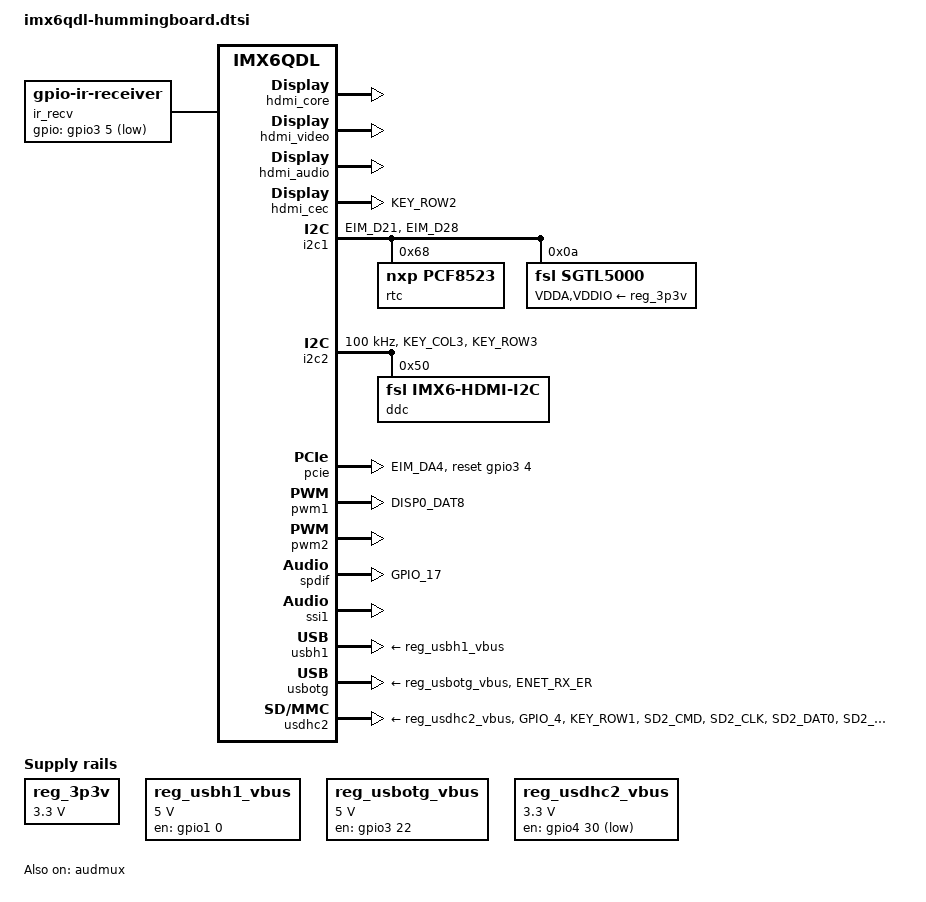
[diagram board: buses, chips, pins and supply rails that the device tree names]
/*
 * Copyright (C) 2013,2014 Russell King
 *
 * This file is dual-licensed: you can use it either under the terms
 * of the GPL or the X11 license, at your option. Note that this dual
 * licensing only applies to this file, and not this project as a
 * whole.
 *
 *  a) This file is free software; you can redistribute it and/or
 *     modify it under the terms of the GNU General Public License as
 *     published by the Free Software Foundation; either version 2 of the
 *     License.
 *
 *     This file is distributed in the hope that it will be useful
 *     but WITHOUT ANY WARRANTY; without even the implied warranty of
 *     MERCHANTABILITY or FITNESS FOR A PARTICULAR PURPOSE.  See the
 *     GNU General Public License for more details.
 *
 * Or, alternatively
 *
 *  b) Permission is hereby granted, free of charge, to any person
 *     obtaining a copy of this software and associated documentation
 *     files (the "Software"), to deal in the Software without
 *     restriction, including without limitation the rights to use
 *     copy, modify, merge, publish, distribute, sublicense, and/or
 *     sell copies of the Software, and to permit persons to whom the
 *     Software is furnished to do so, subject to the following
 *     conditions:
 *
 *     The above copyright notice and this permission notice shall be
 *     included in all copies or substantial portions of the Software.
 *
 *     THE SOFTWARE IS PROVIDED , WITHOUT WARRANTY OF ANY KIND
 *     EXPRESS OR IMPLIED, INCLUDING BUT NOT LIMITED TO THE WARRANTIES
 *     OF MERCHANTABILITY, FITNESS FOR A PARTICULAR PURPOSE AND
 *     NONINFRINGEMENT. IN NO EVENT SHALL THE AUTHORS OR COPYRIGHT
 *     HOLDERS BE LIABLE FOR ANY CLAIM, DAMAGES OR OTHER LIABILITY
 *     WHETHER IN AN ACTION OF CONTRACT, TORT OR OTHERWISE, ARISING
 *     FROM, OUT OF OR IN CONNECTION WITH THE SOFTWARE OR THE USE OR
 *     OTHER DEALINGS IN THE SOFTWARE.
 */
#include "imx6qdl-microsom.dtsi"
#include "imx6qdl-microsom-ar8035.dtsi"

/ {
	aliases {
                mmc0 = &usdhc2;
                mmc1 = &usdhc1;
		mxcfb0 = &mxcfb1;
	};

	chosen {
		bootargs = "quiet console=ttymxc0,115200 root=/dev/mmcblk0p2 rw";
		stdout-path = &uart1;
	};

	ir_recv: ir-receiver {
		compatible = "gpio-ir-receiver";
		gpios = <&gpio3 5 1>;
		pinctrl-names = "default";
		pinctrl-0 = <&pinctrl_hummingboard_gpio3_5>;
		linux,rc-map-name = "rc-rc6-mce";	
	};

	regulators {
		compatible = "simple-bus";

		reg_3p3v: 3p3v {
			compatible = "regulator-fixed";
			regulator-name = "3P3V";
			regulator-min-microvolt = <3300000>;
			regulator-max-microvolt = <3300000>;
		};

		reg_usbh1_vbus: usb-h1-vbus {
			compatible = "regulator-fixed";
			enable-active-high;
			gpio = <&gpio1 0 0>;
			pinctrl-names = "default";
			pinctrl-0 = <&pinctrl_hummingboard_usbh1_vbus>;
			regulator-name = "usb_h1_vbus";
			regulator-min-microvolt = <5000000>;
			regulator-max-microvolt = <5000000>;
		};

		reg_usbotg_vbus: usb-otg-vbus {
			compatible = "regulator-fixed";
			enable-active-high;
			gpio = <&gpio3 22 0>;
			pinctrl-names = "default";
			pinctrl-0 = <&pinctrl_hummingboard_usbotg_vbus>;
			regulator-name = "usb_otg_vbus";
			regulator-min-microvolt = <5000000>;
			regulator-max-microvolt = <5000000>;
		};

		reg_usdhc2_vbus: usdhc-2-vbus {
			compatible = "regulator-fixed";
			regulator-name = "USDHC2-VBUS";
			gpio = <&gpio4 30 0>;
			pinctrl-names = "default";
			pinctrl-0 = <&pinctrl_hummingboard_usdhc2_pwr>;
			regulator-min-microvolt = <3300000>;
			regulator-max-microvolt = <3300000>;
		};
	};

	sound-sgtl5000 {
		audio-codec = <&sgtl5000>;
		audio-routing =
			"MIC_IN", "Mic Jack",
			"Mic Jack", "Mic Bias",
			"Headphone Jack", "HP_OUT";
		compatible = "fsl,imx-audio-sgtl5000";
		model = "On-board Codec";
		mux-ext-port = <5>;
		mux-int-port = <1>;
		cpu-dai = <&ssi1>;
	};

	sound-spdif {
		compatible = "fsl,imx-audio-spdif";
		model = "On-board SPDIF";
		/* IMX6 doesn't implement this yet */
		spdif-controller = <&spdif>;
		spdif-out;
	};

	sound-hdmi {
		compatible = "fsl,imx6q-audio-hdmi",
			     "fsl,imx-audio-hdmi";
		model = "imx-audio-hdmi";
		hdmi-controller = <&hdmi_audio>;
	};

	mxcfb1: fb@0 {
		compatible = "fsl,mxc_sdc_fb";
		disp_dev = "hdmi";
		interface_pix_fmt = "RGB24";
		mode_str ="1920x1080M@60";
		default_bpp = <32>;
		int_clk = <0>;
		late_init = <0>;
		status = "okay";
        };
};

&audmux {
	status = "okay";
};

&flexcan1 {
	pinctrl-names = "default";
	pinctrl-0 = <&pinctrl_hummingboard_flexcan1>;
	status = "disabled";
};

&hdmi_core {
	ipu_id = <0>;
	disp_id = <0>;
	status = "okay";
};

&hdmi_video {
	fsl,phy_reg_vlev = <0x0294>;
	fsl,phy_reg_cksymtx = <0x800d>;
	status = "okay";
};

&hdmi_audio {
	status = "okay";
};

&hdmi_cec {
        pinctrl-names = "default";
        pinctrl-0 = <&pinctrl_hummingboard_hdmi>;
        status = "okay";
};

&i2c1 {
	pinctrl-names = "default";
	pinctrl-0 = <&pinctrl_hummingboard_i2c1>;
	status = "okay";

	/* Pro baseboard model */
	rtc: pcf8523@68 {
		compatible = "nxp,pcf8523";
		reg = <0x68>;
	};

	/* Pro baseboard model */
	sgtl5000: sgtl5000@0a {
		clocks = <&clks IMX6QDL_CLK_CKO>;
		compatible = "fsl,sgtl5000";
		pinctrl-names = "default";
		pinctrl-0 = <&pinctrl_hummingboard_sgtl5000>;
		reg = <0x0a>;
		VDDA-supply = <&reg_3p3v>;
		VDDIO-supply = <&reg_3p3v>;
	};
};

&i2c2 {
	clock-frequency = <100000>;
	pinctrl-names = "default";
	pinctrl-0 = <&pinctrl_hummingboard_i2c2>;
	status = "okay";

	ddc: imx6_hdmi_i2c@50 {
		compatible = "fsl,imx6-hdmi-i2c";
		reg = <0x50>;
	};
};

&iomuxc {
	pinctrl-names = "default";
	pinctrl-0 = <&pinctrl_hog>;
	hummingboard {
                pinctrl_hog: hoggrp {
                        fsl,pins = <
                                /*
                                 * 26 pin header GPIO description. The pins
                                 * numbering as following -
                                 * GPIO number | GPIO (bank,num) |  PIN number
                                 * ------------+-----------------+------------
                                 * gpio1       | (1,1)           | IO7
                                 * gpio73      | (3,9)           | IO11
                                 * gpio72      | (3,8)           | IO12
                                 * gpio71      | (3,7)           | IO13
                                 * gpio70      | (3,6)           | IO15
                                 * gpio194     | (7,2)           | IO16
                                 * gpio195     | (7,3)           | IO18
                                 * gpio67      | (3,3)           | IO22
                                 *
                                 * Notice the gpioX and GPIO (Y,Z) mapping forumla :
                                 * X = (Y-1) * 32 + Z
                                 */
                                MX6QDL_PAD_GPIO_1__GPIO1_IO01 0x400130b1
                                MX6QDL_PAD_EIM_DA9__GPIO3_IO09 0x400130b1
                                MX6QDL_PAD_EIM_DA8__GPIO3_IO08 0x400130b1
                                MX6QDL_PAD_EIM_DA7__GPIO3_IO07 0x400130b1
                                MX6QDL_PAD_EIM_DA6__GPIO3_IO06 0x400130b1
                                MX6QDL_PAD_SD3_CMD__GPIO7_IO02 0x400130b1
                                MX6QDL_PAD_SD3_CLK__GPIO7_IO03 0x400130b1
                                MX6QDL_PAD_EIM_DA3__GPIO3_IO03 0x400130b1
                        >;
                };

		pinctrl_hummingboard_flexcan1: hummingboard-flexcan1 {
			fsl,pins = <
				MX6QDL_PAD_SD3_CLK__FLEXCAN1_RX 0x80000000
				MX6QDL_PAD_SD3_CMD__FLEXCAN1_TX 0x80000000
			>;
		};

		pinctrl_hummingboard_gpio3_5: hummingboard-gpio3_5 {
			fsl,pins = <
				MX6QDL_PAD_EIM_DA5__GPIO3_IO05 0x1b0b1
			>;
		};

		pinctrl_hummingboard_hdmi: hummingboard-hdmi {
			fsl,pins = <
				MX6QDL_PAD_KEY_ROW2__HDMI_TX_CEC_LINE 0x1f8b0
			>;
		};

		pinctrl_hummingboard_i2c1: hummingboard-i2c1 {
			fsl,pins = <
				MX6QDL_PAD_EIM_D21__I2C1_SCL 0x4001b8b1
				MX6QDL_PAD_EIM_D28__I2C1_SDA 0x4001b8b1
			>;
		};

		pinctrl_hummingboard_i2c2: hummingboard-i2c2 {
			fsl,pins = <
				MX6QDL_PAD_KEY_COL3__I2C2_SCL 0x4001b8b1
				MX6QDL_PAD_KEY_ROW3__I2C2_SDA 0x4001b8b1
			>;
		};

		pinctrl_hummingboard_pcie_reset: hummingboard-pcie-reset {
			fsl,pins = <
				MX6QDL_PAD_EIM_DA4__GPIO3_IO04 0x1b0b1
			>;
		};

		pinctrl_hummingboard_pwm1: pwm1grp {
			fsl,pins = <MX6QDL_PAD_DISP0_DAT8__PWM1_OUT 0x1b0b1>;
		};

		pinctrl_hummingboard_sgtl5000: hummingboard-sgtl5000 {
			fsl,pins = <
				MX6QDL_PAD_DISP0_DAT19__AUD5_RXD 0x130b0
				MX6QDL_PAD_KEY_COL0__AUD5_TXC 0x130b0
				MX6QDL_PAD_KEY_ROW0__AUD5_TXD 0x110b0
				MX6QDL_PAD_KEY_COL1__AUD5_TXFS 0x130b0
				MX6QDL_PAD_GPIO_5__CCM_CLKO1 0x130b0
			>;
		};

		pinctrl_hummingboard_spdif: hummingboard-spdif {
			fsl,pins = <MX6QDL_PAD_GPIO_17__SPDIF_OUT 0x13091>;
		};

		pinctrl_hummingboard_usbh1_vbus: hummingboard-usbh1-vbus {
			fsl,pins = <MX6QDL_PAD_GPIO_0__GPIO1_IO00 0x1b0b0>;
		};

		pinctrl_hummingboard_usbotg_id: hummingboard-usbotg-id {
			/*
			 * Similar to pinctrl_usbotg_2, but we want it
			 * pulled down for a fixed host connection.
			 */
			fsl,pins = <MX6QDL_PAD_ENET_RX_ER__USB_OTG_ID 0x13059>;
		};

		pinctrl_hummingboard_usbotg_vbus: hummingboard-usbotg-vbus {
			fsl,pins = <MX6QDL_PAD_EIM_D22__GPIO3_IO22 0x1b0b0>;
		};

		pinctrl_hummingboard_usdhc2_pwr: hummingboard-usdhc2-pwr {
			fsl,pins = <MX6QDL_PAD_DISP0_DAT9__GPIO4_IO30 0x1b0b0>;
		};

		pinctrl_hummingboard_usdhc2_aux: hummingboard-usdhc2-aux {
			fsl,pins = <
				MX6QDL_PAD_GPIO_4__GPIO1_IO04    0x1f071
				MX6QDL_PAD_KEY_ROW1__SD2_VSELECT 0x1b071
			>;
		};

		pinctrl_hummingboard_usdhc2: hummingboard-usdhc2 {
			fsl,pins = <
				MX6QDL_PAD_SD2_CMD__SD2_CMD    0x17059
				MX6QDL_PAD_SD2_CLK__SD2_CLK    0x10059
				MX6QDL_PAD_SD2_DAT0__SD2_DATA0 0x17059
				MX6QDL_PAD_SD2_DAT1__SD2_DATA1 0x17059
				MX6QDL_PAD_SD2_DAT2__SD2_DATA2 0x17059
				MX6QDL_PAD_SD2_DAT3__SD2_DATA3 0x13059
			>;
		};

		pinctrl_hummingboard_usdhc2_100mhz: hummingboard-usdhc2-100mhz {
			fsl,pins = <
				MX6QDL_PAD_SD2_CMD__SD2_CMD    0x170b9
				MX6QDL_PAD_SD2_CLK__SD2_CLK    0x100b9
				MX6QDL_PAD_SD2_DAT0__SD2_DATA0 0x170b9
				MX6QDL_PAD_SD2_DAT1__SD2_DATA1 0x170b9
				MX6QDL_PAD_SD2_DAT2__SD2_DATA2 0x170b9
				MX6QDL_PAD_SD2_DAT3__SD2_DATA3 0x130b9
			>;
		};

		pinctrl_hummingboard_usdhc2_200mhz: hummingboard-usdhc2-200mhz {
			fsl,pins = <
				MX6QDL_PAD_SD2_CMD__SD2_CMD    0x170f9
				MX6QDL_PAD_SD2_CLK__SD2_CLK    0x100f9
				MX6QDL_PAD_SD2_DAT0__SD2_DATA0 0x170f9
				MX6QDL_PAD_SD2_DAT1__SD2_DATA1 0x170f9
				MX6QDL_PAD_SD2_DAT2__SD2_DATA2 0x170f9
				MX6QDL_PAD_SD2_DAT3__SD2_DATA3 0x130f9
			>;
		};
	};
};

&pcie {
	pinctrl-names = "default";
	pinctrl-0 = <&pinctrl_hummingboard_pcie_reset>;
	reset-gpio = <&gpio3 4 0>;
	status = "okay";
};

&pwm1 {
	 pinctrl-names = "default";
	 pinctrl-0 = <&pinctrl_hummingboard_pwm1>;
	 status = "okay";
};

&pwm2 {
	 pinctrl-names = "default";
	 status = "okay";
};

&spdif {
	pinctrl-names = "default";
	pinctrl-0 = <&pinctrl_hummingboard_spdif>;
	status = "okay";
};

&ssi1 {
	fsl,mode = "i2s-slave";
	status = "okay";
};

&usbh1 {
	disable-over-current;
	vbus-supply = <&reg_usbh1_vbus>;
	status = "okay";
};

&usbotg {
	disable-over-current;
	pinctrl-names = "default";
	pinctrl-0 = <&pinctrl_hummingboard_usbotg_id>;
	vbus-supply = <&reg_usbotg_vbus>;
	status = "okay";
};

&usdhc2 {
	pinctrl-names = "default", "state_100mhz", "state_200mhz";
	pinctrl-0 = <
		&pinctrl_hummingboard_usdhc2_aux
		&pinctrl_hummingboard_usdhc2
	>;
	pinctrl-1 = <
		&pinctrl_hummingboard_usdhc2_aux
		&pinctrl_hummingboard_usdhc2_100mhz
        >;
	pinctrl-2 = <
		&pinctrl_hummingboard_usdhc2_aux
		&pinctrl_hummingboard_usdhc2_200mhz
	>;

	vmmc-supply = <&reg_usdhc2_vbus>;
	cd-gpios = <&gpio1 4 0>;
	status = "okay";
};
